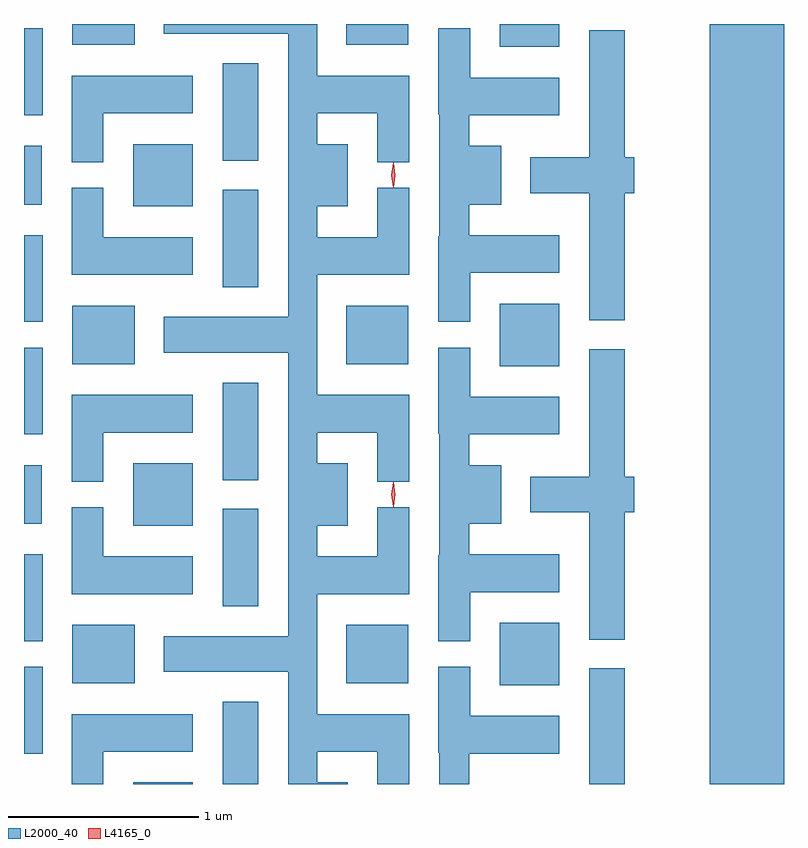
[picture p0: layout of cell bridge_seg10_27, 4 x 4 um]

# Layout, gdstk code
import gdstk
lib = gdstk.Library(unit=1e-6, precision=1e-09)
def R(c, l, rs):  # rectangles x0, y0, x1, y1
    for r in rs: c.add(gdstk.rectangle(r[:2], r[2:], *l))
def A(c, l, x, y, w, h, nx, ny, dx, dy):  # array of equal rectangles
    R(c, l, [(x+i*dx, y+j*dy, x+i*dx+w, y+j*dy+h) for i in range(nx) for j in range(ny)])
def P(c, l, *ps):  # polygons
    for p in ps: c.add(gdstk.Polygon(p, *l))
L2000_40 = (2000, 40)
L4165_0 = (4165, 0)

bridge_seg10_27 = lib.new_cell('bridge_seg10_27')
A(bridge_seg10_27, L2000_40, 1748.191, 2162.766, 0.098, 0.457, 1, 3, 0, 1.68)
R(bridge_seg10_27, L2000_40, [(1748.766,2162.606,1749.079,2162.614), (1749.236,2162.606,1749.424,2163.039), (1751.166,2162.606,1751.354,2163.214), (1751.801,2162.606,1752.191,2166.606), (1750.696,2163.126,1751.009,2163.454), (1748.446,2163.136,1748.774,2163.444), (1749.886,2163.136,1750.214,2163.444), (1748.191,2163.358,1748.289,2163.814), (1749.236,2163.541,1749.424,2164.054), (1748.766,2163.966,1749.079,2164.294), (1748.191,2163.976,1748.284,2164.284), (1749.236,2164.206,1749.424,2164.719), (1750.696,2164.806,1751.009,2165.134), (1748.446,2164.816,1748.774,2165.124), (1749.886,2164.816,1750.214,2165.124), (1748.191,2165.038,1748.289,2165.494), (1749.236,2165.221,1749.424,2165.734), (1748.766,2165.646,1749.079,2165.974), (1748.191,2165.656,1748.284,2165.964), (1749.236,2165.886,1749.424,2166.399), (1750.696,2166.486,1751.009,2166.606), (1748.446,2166.496,1748.774,2166.606), (1749.886,2166.496,1750.214,2166.606)])
P(bridge_seg10_27, L2000_40, [(1749.894,2162.614),(1749.734,2162.614),(1749.734,2162.776),(1750.051,2162.776),(1750.051,2162.606),(1750.219,2162.606),(1750.219,2162.974),(1749.734,2162.974),(1749.734,2163.606),(1750.219,2163.606),(1750.219,2164.063),(1750.051,2164.063),(1750.051,2163.804),(1749.734,2163.804),(1749.734,2163.966),(1749.894,2163.966),(1749.894,2164.294),(1749.734,2164.294),(1749.734,2164.456),(1750.051,2164.456),(1750.051,2164.198),(1750.219,2164.198),(1750.219,2164.654),(1749.734,2164.654),(1749.734,2165.286),(1750.219,2165.286),(1750.219,2165.743),(1750.051,2165.743),(1750.051,2165.484),(1749.734,2165.484),(1749.734,2165.646),(1749.894,2165.646),(1749.894,2165.974),(1749.734,2165.974),(1749.734,2166.136),(1750.051,2166.136),(1750.051,2165.878),(1750.219,2165.878),(1750.219,2166.334),(1749.734,2166.334),(1749.734,2166.606),(1748.926,2166.606),(1748.926,2166.556),(1749.581,2166.556),(1749.581,2165.064),(1748.926,2165.064),(1748.926,2164.876),(1749.581,2164.876),(1749.581,2163.384),(1748.926,2163.384),(1748.926,2163.196),(1749.581,2163.196),(1749.581,2162.606),(1749.894,2162.606)],
  [(1750.539,2165.296),(1751.009,2165.296),(1751.009,2165.494),(1750.534,2165.494),(1750.534,2165.656),(1750.704,2165.656),(1750.704,2165.964),(1750.534,2165.964),(1750.534,2166.126),(1751.009,2166.126),(1751.009,2166.324),(1750.539,2166.324),(1750.539,2166.583),(1750.371,2166.583),(1750.371,2166.13),(1750.376,2166.13),(1750.376,2165.49),(1750.371,2165.49),(1750.371,2165.038),(1750.539,2165.038)],
  [(1751.354,2165.716),(1751.404,2165.716),(1751.404,2165.904),(1751.354,2165.904),(1751.354,2166.574),(1751.166,2166.574),(1751.166,2165.904),(1750.856,2165.904),(1750.856,2165.716),(1751.166,2165.716),(1751.166,2165.046),(1751.354,2165.046)],
  [(1748.609,2166.136),(1749.079,2166.136),(1749.079,2166.334),(1748.441,2166.334),(1748.441,2165.878),(1748.609,2165.878)],
  [(1749.079,2165.484),(1748.609,2165.484),(1748.609,2165.743),(1748.441,2165.743),(1748.441,2165.286),(1749.079,2165.286)],
  [(1750.539,2163.616),(1751.009,2163.616),(1751.009,2163.814),(1750.534,2163.814),(1750.534,2163.976),(1750.704,2163.976),(1750.704,2164.284),(1750.534,2164.284),(1750.534,2164.446),(1751.009,2164.446),(1751.009,2164.644),(1750.539,2164.644),(1750.539,2164.903),(1750.371,2164.903),(1750.371,2164.45),(1750.376,2164.45),(1750.376,2163.81),(1750.371,2163.81),(1750.371,2163.358),(1750.539,2163.358)],
  [(1751.354,2164.036),(1751.404,2164.036),(1751.404,2164.224),(1751.354,2164.224),(1751.354,2164.894),(1751.166,2164.894),(1751.166,2164.224),(1750.856,2164.224),(1750.856,2164.036),(1751.166,2164.036),(1751.166,2163.366),(1751.354,2163.366)],
  [(1748.609,2164.456),(1749.079,2164.456),(1749.079,2164.654),(1748.441,2164.654),(1748.441,2164.198),(1748.609,2164.198)],
  [(1749.079,2163.804),(1748.609,2163.804),(1748.609,2164.063),(1748.441,2164.063),(1748.441,2163.606),(1749.079,2163.606)],
  [(1750.534,2162.766),(1751.009,2162.766),(1751.009,2162.964),(1750.539,2162.964),(1750.539,2163.223),(1750.371,2163.223),(1750.371,2162.77),(1750.376,2162.77),(1750.376,2162.606),(1750.534,2162.606)],
  [(1748.609,2162.776),(1749.079,2162.776),(1749.079,2162.974),(1748.441,2162.974),(1748.441,2162.606),(1748.609,2162.606)])
P(bridge_seg10_27, L4165_0, [(1750.135,2164.064),(1750.134,2164.065),(1750.125,2164.13),(1750.134,2164.195),(1750.135,2164.196),(1750.136,2164.195),(1750.145,2164.13),(1750.136,2164.065)],
  [(1750.135,2165.744),(1750.134,2165.745),(1750.125,2165.81),(1750.134,2165.875),(1750.135,2165.876),(1750.136,2165.875),(1750.145,2165.81),(1750.136,2165.745)])

lib.write_gds('bridge_seg10_27.gds')
